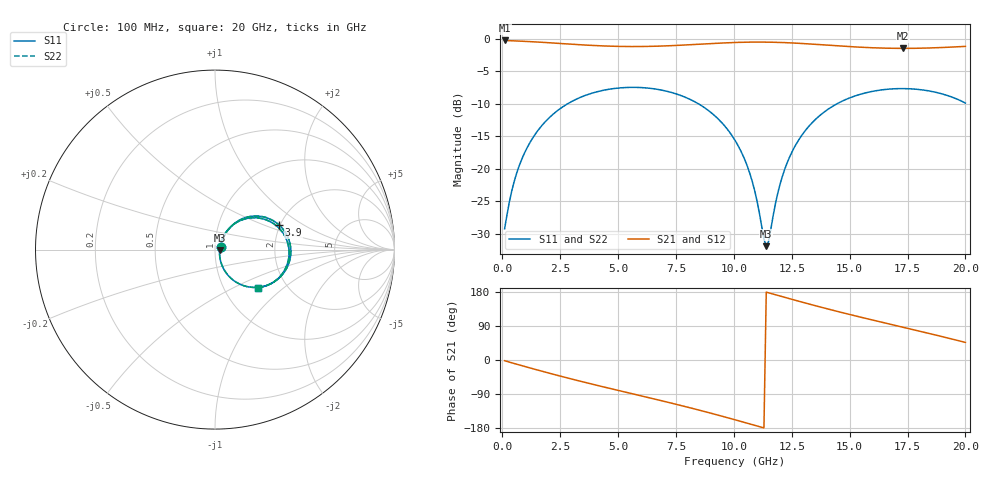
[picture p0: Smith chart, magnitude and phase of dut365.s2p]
! Touchstone file exported from HFSS 2026.1.0
!  File:  C:/ffzhzh/LocalFiles/Ansys_Project_Files/temp_train_TSV_RDL_365_1783039574_55676.aedt
!  Generated:  09:02:46 AM Jul  3, 2026
!  Design:  TSV_RDL
!  Project:  temp_train_TSV_RDL_365_1783039574_55676
! Variables:
!  h_bsmrdl = 2.42um
!  h_ox = 20um
!  h_rdl = 5um
!  h_sub = 56.14um
!  h_tmrdl = 3.35um
!  h_tsv = 56.14um
!  h_via = 3um
!  l_bsmrdl = 578.52um
!  l_sub = 5446.16um
!  l_tmrdl = 798.43um
!  m_sub = 200um
!  pitch = 37.79um
!  r_tsv = 12.53um
!  s_tmrdl = 10um
!  w_bsmrdl = 15.23um
!  w_sub = 500um
!  w_tmrdl = 23.73um
!  x_tsv_center1 = 810.295um
!  x_tsv_center2 = 1404.045um
!  x_tsv_center3 = 2226.205um
!  x_tsv_center4 = 2819.955um
!  x_tsv_center5 = 3642.115um
!  x_tsv_center6 = 4235.865um
# GHz S MA R 50.000000
! Terminal data exported
! Port[1] = TM_RDL1_1_T1
! Port[2] = TM_RDL5_1_T1
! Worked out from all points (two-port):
!   200 points, 100 MHz to 20 GHz, reference 50 ohm
!   highest |S21| = -0.28 dB at 100 MHz (marker M1); lowest = -1.5 dB at 17.3 GHz (marker M2)
!   |S21| within 3 dB of the highest: start of sweep to end of sweep
!   lowest |S11| = -31.9 dB at 11.4 GHz (marker M3), VSWR 1.05, Z = 52.6 - j0.315 ohm
!   |S11| at or under -10 dB: start of sweep to 2.823 GHz; 8.468 GHz to 14.46 GHz (5.989 GHz wide, 52.2 % of centre)
!   |S22| runs from -31.7 to -7.5 dB; largest |S21 - S12| = 1.8e-14
!   S11 on the Smith chart (normalised r, x): 100 MHz: 1.06, +0.03; 3.9 GHz: 1.98, +0.64; 20 GHz: 1.44, -0.68
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0.1  0.03468 24.3  0.9688 -1.9  0.9688 -1.9  0.03468 24.3
! Gamma 0 0 0 0
! Port Impedance 50 0 50 0
0.6  0.09018 55.5  0.9602 -10.8  0.9602 -10.8  0.09018 55.5
1.2  0.1598 55.0  0.9491 -21.0  0.9491 -21.0  0.1598 55.0
2.2  0.2635 44.1  0.9261 -37.6  0.9261 -37.6  0.2635 44.1
3.5  0.3617 26.5  0.8949 -58.0  0.8949 -58.0  0.3617 26.5
3.9  0.3826 21.0  0.8869 -64.0  0.8869 -64.0  0.3826 21.1
5.4  0.4221 0.6  0.8703 -86.0  0.8703 -86.0  0.4221 0.7
6.8  0.4052 -18.4  0.8766 -106.3  0.8766 -106.3  0.4051 -18.4
8.7  0.2979 -45.0  0.9104 -135.4  0.9104 -135.4  0.2979 -44.9
10.1  0.1602 -63.1  0.9352 -158.6  0.9352 -158.6  0.1602 -62.9
10.8  0.07951 -65.2  0.9409 -170.6  0.9409 -170.6  0.07961 -64.8
11.4  0.02549 -6.7  0.9406 179.1  0.9406 179.1  0.02596 -6.6
11.5  0.02778 18.0  0.94 177.3  0.94 177.3  0.02823 17.8
11.9  0.0654 54.9  0.9364 170.4  0.9364 170.4  0.06562 54.6
12.2  0.09958 58.0  0.9324 165.3  0.9324 165.3  0.09973 57.8
12.7  0.1558 55.3  0.9234 156.8  0.9234 156.8  0.1559 55.2
13.4  0.2281 47.2  0.9076 145.2  0.9076 145.2  0.2281 47.1
15  0.3507 25.5  0.8689 120.1  0.8689 120.1  0.3508 25.4
16.7  0.4099 2.6  0.8442 95.2  0.8442 95.2  0.4099 2.6
17.3  0.4136 -5.4  0.8421 86.5  0.8421 86.5  0.4136 -5.4
18.7  0.388 -24.0  0.851 66.2  0.851 66.2  0.388 -24.0
20  0.3204 -41.4  0.8724 46.4  0.8724 46.4  0.3204 -41.4
